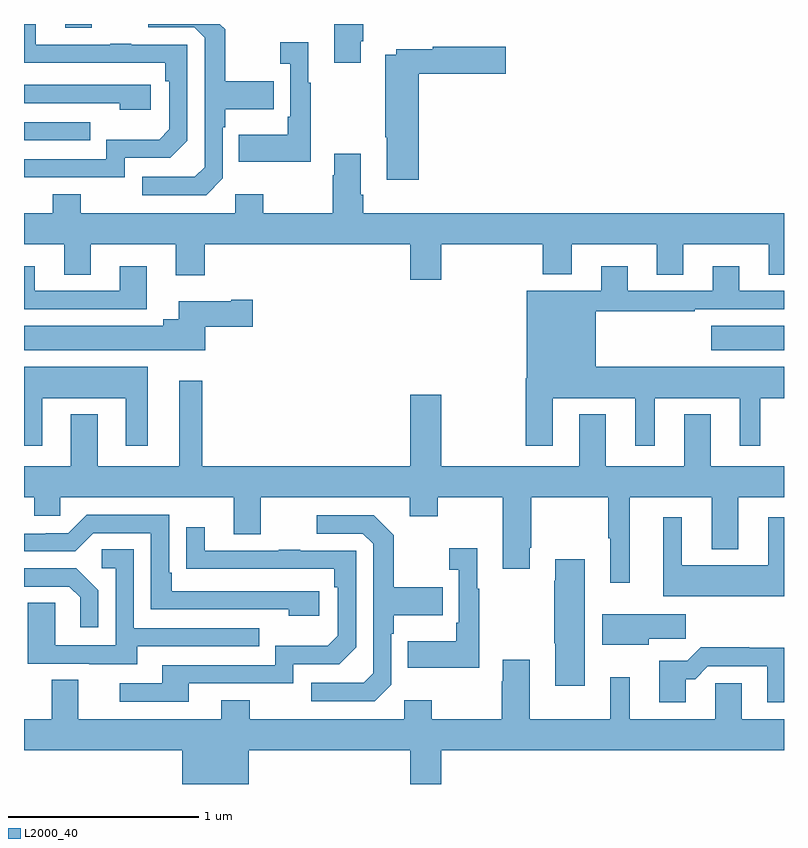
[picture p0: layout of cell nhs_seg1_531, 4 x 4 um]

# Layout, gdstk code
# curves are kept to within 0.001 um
import gdstk
lib = gdstk.Library(unit=1e-6, precision=1e-09)
def R(c, l, rs):  # rectangles x0, y0, x1, y1
    for r in rs: c.add(gdstk.rectangle(r[:2], r[2:], *l))
def P(c, l, *ps):  # polygons
    for p in ps: c.add(gdstk.Polygon(p, *l))
L2000_40 = (2000, 40)

nhs_seg1_531 = lib.new_cell('nhs_seg1_531')
R(nhs_seg1_531, L2000_40, [(142.617,576.482,143,576.61), (139,577.587,139.349,577.683), (139.217,578.178,139.357,578.199)])
P(nhs_seg1_531, L2000_40, [(140.773,578.107),(140.786,578.107),(140.786,578.199),(140.633,578.199),(140.633,577.995),(140.773,577.995)],
  [(140.046,577.386),(140.046,577.655),(140.059,577.655),(140.059,577.751),(140.315,577.751),(140.315,577.899),(140.059,577.899),(140.059,578.171),(140.031,578.199),(139.653,578.199),(139.653,578.181),(139.896,578.181),(139.95,578.127),(139.95,577.446),(139.899,577.395),(139.623,577.395),(139.623,577.299),(139.959,577.299)],
  [(139.53,577.494),(139.77,577.494),(139.86,577.584),(139.86,578.091),(139.565,578.091),(139.565,578.096),(139.453,578.096),(139.453,578.091),(139.063,578.091),(139.063,578.199),(139,578.199),(139,577.996),(139.744,577.995),(139.744,577.898),(139.764,577.898),(139.764,577.644),(139.711,577.591),(139.434,577.591),(139.434,577.488),(139,577.488),(139,577.392),(139.53,577.392)],
  [(140.509,577.891),(140.497,577.891),(140.497,578.104),(140.349,578.104),(140.349,577.991),(140.4,577.991),(140.4,577.711),(140.388,577.711),(140.388,577.615),(140.131,577.615),(140.131,577.475),(140.509,577.475)],
  [(141.077,577.937),(141.535,577.937),(141.535,578.079),(141.15,578.079),(141.15,578.067),(140.958,578.067),(140.958,578.038),(140.902,578.038),(140.902,577.603),(140.909,577.603),(140.909,577.38),(141.077,577.38)],
  [(139.666,577.878),(139,577.878),(139,577.782),(139.505,577.782),(139.505,577.748),(139.666,577.748)],
  [(141.196,577.04),(141.731,577.04),(141.731,576.881),(141.883,576.881),(141.883,577.04),(142.331,577.04),(142.331,576.88),(142.471,576.88),(142.471,577.04),(142.919,577.04),(142.919,576.88),(143,576.88),(143,577.204),(140.786,577.204),(140.786,577.3),(140.773,577.3),(140.773,577.516),(140.633,577.516),(140.633,577.403),(140.626,577.403),(140.626,577.204),(140.259,577.204),(140.259,577.303),(140.112,577.303),(140.112,577.204),(139.299,577.204),(139.299,577.303),(139.151,577.303),(139.151,577.204),(139,577.204),(139,577.04),(139.211,577.04),(139.211,576.88),(139.351,576.88),(139.351,577.04),(139.799,577.04),(139.799,576.876),(139.952,576.876),(139.952,577.04),(141.032,577.04),(141.032,576.852),(141.196,576.852)],
  [(139.645,576.925),(139.505,576.925),(139.505,576.795),(139.057,576.795),(139.057,576.925),(139,576.925),(139,576.699),(139.645,576.699)],
  [(141.784,576.23),(142.217,576.23),(142.217,575.979),(142.321,575.979),(142.321,576.23),(142.766,576.23),(142.766,575.979),(142.876,575.979),(142.876,576.23),(143,576.23),(143,576.394),(142.009,576.394),(142.009,576.687),(142.529,576.687),(142.529,576.699),(143,576.699),(143,576.795),(142.765,576.795),(142.765,576.925),(142.625,576.925),(142.625,576.795),(142.177,576.795),(142.177,576.925),(142.037,576.925),(142.037,576.796),(141.647,576.796),(141.647,576.334),(141.64,576.334),(141.64,575.979),(141.784,575.979)],
  [(139.954,576.605),(140.203,576.605),(140.203,576.747),(140.09,576.747),(140.09,576.739),(139.814,576.739),(139.814,576.646),(139.733,576.646),(139.733,576.61),(139,576.61),(139,576.482),(139.954,576.482)],
  [(139.096,576.23),(139.535,576.23),(139.535,575.979),(139.651,575.979),(139.651,576.394),(139,576.394),(139,575.979),(139.096,575.979)],
  [(142.619,575.435),(142.759,575.435),(142.759,575.708),(143,575.708),(143,575.872),(142.615,575.872),(142.615,576.145),(142.475,576.145),(142.475,575.872),(142.063,575.872),(142.063,576.145),(141.923,576.145),(141.923,575.872),(141.196,575.872),(141.196,576.247),(141.032,576.247),(141.032,575.872),(139.939,575.872),(139.939,576.322),(139.817,576.322),(139.817,575.872),(139.387,575.872),(139.387,576.145),(139.247,576.145),(139.247,575.872),(139,575.872),(139,575.708),(139.053,575.708),(139.053,575.61),(139.191,575.61),(139.191,575.708),(140.105,575.708),(140.105,575.514),(140.245,575.514),(140.245,575.708),(141.029,575.708),(141.029,575.609),(141.177,575.609),(141.177,575.708),(141.521,575.708),(141.521,575.331),(141.661,575.331),(141.661,575.443),(141.669,575.443),(141.669,575.708),(142.075,575.708),(142.075,575.492),(142.085,575.492),(142.085,575.259),(142.189,575.259),(142.189,575.708),(142.619,575.708)],
  [(140.554,575.214),(139.777,575.214),(139.777,575.311),(139.764,575.311),(139.764,575.616),(139.329,575.616),(139.233,575.52),(139.115,575.52),(139.115,575.517),(139,575.517),(139,575.424),(139.269,575.424),(139.365,575.52),(139.668,575.52),(139.668,575.118),(140.393,575.118),(140.393,575.084),(140.554,575.084)],
  [(140.934,574.722),(140.934,574.991),(140.947,574.991),(140.947,575.087),(141.203,575.087),(141.203,575.235),(140.947,575.235),(140.947,575.507),(140.841,575.613),(140.541,575.613),(140.541,575.517),(140.784,575.517),(140.838,575.463),(140.838,574.782),(140.787,574.731),(140.511,574.731),(140.511,574.635),(140.847,574.635)],
  [(143,575.602),(142.916,575.602),(142.916,575.35),(142.462,575.35),(142.462,575.602),(142.364,575.602),(142.364,575.186),(143,575.186)],
  [(139.867,574.728),(140.418,574.728),(140.418,574.83),(140.658,574.83),(140.748,574.92),(140.748,575.427),(140.453,575.427),(140.453,575.432),(140.341,575.432),(140.341,575.427),(139.951,575.427),(139.951,575.551),(139.855,575.551),(139.855,575.332),(140.632,575.331),(140.632,575.234),(140.652,575.234),(140.652,574.98),(140.599,574.927),(140.322,574.927),(140.322,574.824),(139.727,574.824),(139.727,574.728),(139.503,574.728),(139.503,574.632),(139.867,574.632)],
  [(141.397,575.227),(141.385,575.227),(141.385,575.44),(141.237,575.44),(141.237,575.327),(141.288,575.327),(141.288,575.047),(141.276,575.047),(141.276,574.951),(141.019,574.951),(141.019,574.811),(141.397,574.811)],
  [(139.597,574.923),(140.237,574.923),(140.237,575.019),(139.578,575.019),(139.578,575.435),(139.41,575.435),(139.41,575.334),(139.482,575.334),(139.482,574.929),(139.164,574.929),(139.164,575.153),(139.019,575.153),(139.019,574.833),(139.343,574.833),(139.343,574.829),(139.597,574.829)],
  [(141.952,575.383),(141.797,575.383),(141.797,575.27),(141.79,575.27),(141.79,574.939),(141.797,574.939),(141.797,574.716),(141.952,574.716)],
  [(139.392,575.218),(139.276,575.334),(139,575.334),(139,575.238),(139.238,575.238),(139.295,575.181),(139.295,575.025),(139.392,575.025)],
  [(142.288,574.963),(142.483,574.963),(142.483,575.092),(142.044,575.092),(142.044,574.931),(142.288,574.931)],
  [(142.483,574.751),(142.532,574.751),(142.599,574.818),(142.913,574.818),(142.913,574.629),(143,574.629),(143,574.916),(142.817,574.916),(142.817,574.919),(142.562,574.919),(142.492,574.849),(142.343,574.849),(142.343,574.629),(142.483,574.629)],
  [(140.182,574.376),(141.032,574.376),(141.032,574.199),(141.196,574.199),(141.196,574.376),(143,574.376),(143,574.54),(142.777,574.54),(142.777,574.73),(142.638,574.73),(142.638,574.54),(142.189,574.54),(142.189,574.762),(142.085,574.762),(142.085,574.54),(141.661,574.54),(141.661,574.852),(141.521,574.852),(141.521,574.739),(141.514,574.739),(141.514,574.54),(141.147,574.54),(141.147,574.639),(141,574.639),(141,574.54),(140.187,574.54),(140.187,574.639),(140.039,574.639),(140.039,574.54),(139.285,574.54),(139.285,574.748),(139.145,574.748),(139.145,574.54),(139,574.54),(139,574.376),(139.832,574.376),(139.832,574.199),(140.182,574.199)])

lib.write_gds('nhs_seg1_531.gds')
